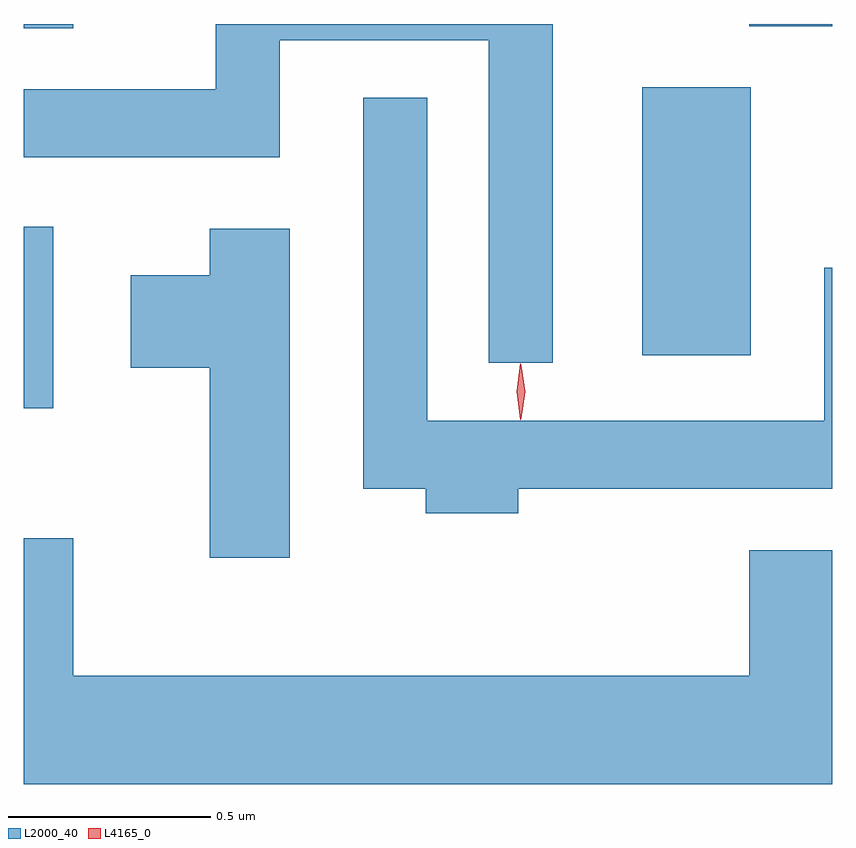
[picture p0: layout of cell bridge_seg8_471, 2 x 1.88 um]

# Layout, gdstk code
import gdstk
lib = gdstk.Library(unit=1e-6, precision=1e-09)
def R(c, l, rs):  # rectangles x0, y0, x1, y1
    for r in rs: c.add(gdstk.rectangle(r[:2], r[2:], *l))
def P(c, l, *ps):  # polygons
    for p in ps: c.add(gdstk.Polygon(p, *l))
L2000_40 = (2000, 40)
L4165_0 = (4165, 0)

bridge_seg8_471 = lib.new_cell('bridge_seg8_471')
R(bridge_seg8_471, L2000_40, [(537.106,1935.026,537.179,1935.474), (538.636,1935.156,538.904,1935.819), (537.106,1935.966,537.229,1935.976), (538.901,1935.971,539.106,1935.976)])
P(bridge_seg8_471, L2000_40, [(538.414,1935.976),(537.581,1935.976),(537.581,1935.814),(537.106,1935.814),(537.106,1935.646),(537.739,1935.646),(537.739,1935.936),(538.256,1935.936),(538.256,1935.138),(538.414,1935.138)],
  [(538.329,1934.826),(539.106,1934.826),(539.106,1935.373),(539.086,1935.373),(539.086,1934.994),(538.104,1934.994),(538.104,1935.793),(537.946,1935.793),(537.946,1934.826),(538.101,1934.826),(538.101,1934.766),(538.329,1934.766)],
  [(537.764,1935.469),(537.566,1935.469),(537.566,1935.354),(537.371,1935.354),(537.371,1935.126),(537.566,1935.126),(537.566,1934.656),(537.764,1934.656)],
  [(539.106,1934.674),(538.901,1934.674),(538.901,1934.364),(537.229,1934.364),(537.229,1934.704),(537.106,1934.704),(537.106,1934.096),(539.106,1934.096)])
P(bridge_seg8_471, L4165_0, [(538.334,1934.997),(538.325,1935.067),(538.334,1935.136),(538.335,1935.136),(538.335,1935.136),(538.345,1935.067),(538.335,1934.997),(538.335,1934.997)],
  [(538.336,1935),(538.327,1935.066),(538.336,1935.132),(538.337,1935.133),(538.337,1935.132),(538.347,1935.066),(538.337,1935),(538.337,1935)])

lib.write_gds('bridge_seg8_471.gds')
